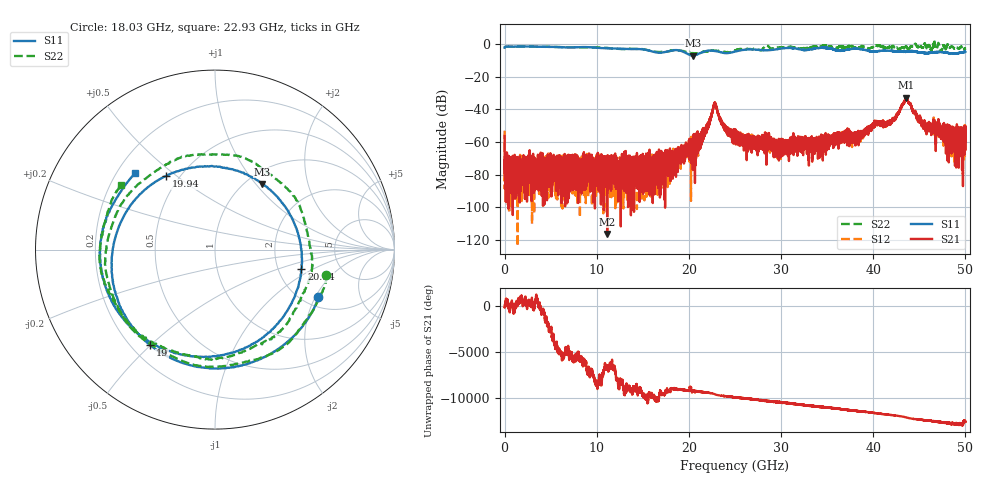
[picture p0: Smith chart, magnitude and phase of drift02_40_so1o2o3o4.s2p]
!Created with skrf (http://scikit-rf.org).
# Hz S RI R 50.0
!freq ReS11 ImS11 ReS21 ImS21 ReS12 ImS12 ReS22 ImS22
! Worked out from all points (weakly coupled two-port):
!   10001 points, 300 kHz to 50 GHz, reference 50 ohm
!   highest |S21| = -32.83 dB at 43.59 GHz (marker M1); lowest = -116.5 dB at 11.13 GHz (marker M2)
!   lowest |S11| = -6.9 dB at 20.44 GHz (marker M3), VSWR 2.64, Z = 58.8 + j54 ohm
!   |S11| at or under -10 dB: nowhere
!   |S22| runs from -5.7 to 2.3 dB; largest |S21 - S12| = 0.0032
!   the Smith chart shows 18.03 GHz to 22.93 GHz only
!   S11 on the Smith chart (normalised r, x): 18.03 GHz: 2.39, -2.12; 19 GHz: 0.27, -0.50; 19.94 GHz: 0.43, +0.46; 20.94 GHz: 2.70, -0.77; 22.93 GHz: 0.27, +0.38
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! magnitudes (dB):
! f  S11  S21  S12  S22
! 300 kHz  -2.1  -56.2  -53.0  -2.1
! 255.3 MHz  -1.4  -81.4  -73.3  -1.4
! 450.3 MHz  -1.4  -73.5  -77.3  -1.4
! 8.335 GHz  -1.7  -74.1  -85.3  -1.9
! 11.13 GHz  -2.5  -116.5  -82.0  -2.2
! 16.67 GHz  -5.2  -73.0  -79.2  -4.7
! 18.03 GHz  -3.9  -67.3  -65.9  -3.9
! 19 GHz  -3.8  -68.8  -67.6  -3.9
! 19.94 GHz  -6.2  -62.7  -64.8  -5.2
! 20.44 GHz  -6.9  -60.3  -59.6  -5.4
! 20.94 GHz  -6.1  -53.5  -58.1  -5.7
! 22.93 GHz  -4.2  -37.3  -37.3  -3.9
! 23.82 GHz  -5.3  -49.5  -50.3  -4.6
! 25 GHz  -4.5  -57.3  -55.8  -3.9
! 29.72 GHz  -2.8  -66.2  -66.6  -2.1
! 33.34 GHz  -3.0  -56.4  -59.1  -1.5
! 38.11 GHz  -2.8  -54.1  -55.7  -2.3
! 40.38 GHz  -4.3  -47.0  -48.6  -1.0
! 41.67 GHz  -4.0  -49.1  -48.5  -1.9
! 43.59 GHz  -4.6  -32.8  -33.3  -1.5
! 45.64 GHz  -5.3  -47.8  -48.9  0.0
! 50 GHz  -4.7  -64.6  -56.9  -2.6
